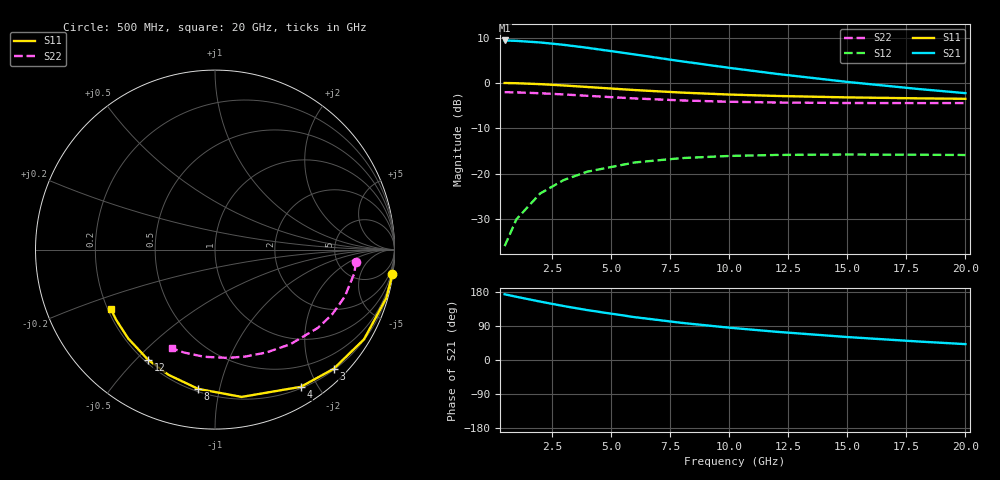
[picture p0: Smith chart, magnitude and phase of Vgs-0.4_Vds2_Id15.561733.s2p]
# Hz S RI R 50
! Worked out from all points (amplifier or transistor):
!   12 points, 500 MHz to 20 GHz, reference 50 ohm
!   highest |S21| = 9.4 dB at 500 MHz (marker M1)
!   |S21| within 3 dB of that: start of sweep to 5.88 GHz
!   unconditionally stable (mu >= 1): 16.08 GHz to end of sweep
!   at 2 GHz: K = 0.11, MSG = 16.7 dB, |S12| = -24.4 dB
!   at 8 GHz: K = 0.46, MSG = 10.7 dB, |S12| = -16.6 dB
!   at 20 GHz: K = 1.31, MAG = 3.5 dB, |S12| = -15.9 dB
!   S11 on the Smith chart (normalised r, x): 500 MHz: 0, -14; 3 GHz: 0.22, -2.39; 4 GHz: 0.22, -1.78; 8 GHz: 0.22, -0.86; 12 GHz: 0.21, -0.54; 20 GHz: 0.21, -0.25
5e8  0.9883 -0.1379  -2.919 0.3381  0.00152 0.0157  0.7871 -0.0702
1e9  0.9543 -0.2701  -2.832 0.6615  0.00597 0.0307  0.7735 -0.1384
2e9  0.8306 -0.4992  -2.515 1.216  0.022 0.056  0.7233 -0.2616
3e9  0.6609 -0.6644  -2.084 1.604  0.0439 0.0727  0.6529 -0.3609
4e9  0.4774 -0.7647  -1.621 1.824  0.0671 0.0807  0.5738 -0.4357
6e9  0.1484 -0.8208  -0.8088 1.894  0.1072 0.078  0.4196 -0.5275
8e9  -0.0934 -0.7761  -0.2402 1.714  0.1342 0.0628  0.2856 -0.5734
1e10  -0.2596 -0.6975  0.1194 1.462  0.15 0.0445  0.1712 -0.5955
1.2e10  -0.3736 -0.6131  0.337 1.213  0.1582 0.027  0.071 -0.6035
1.5e10  -0.484 -0.4947  0.5033 0.8934  0.1621 0.00453  -0.0603 -0.5971
1.8e10  -0.5511 -0.391  0.5642 0.6455  0.1608 -0.0132  -0.1729 -0.5735
2e10  -0.5809 -0.3292  0.5736 0.5145  0.1586 -0.0227  -0.2388 -0.5503
